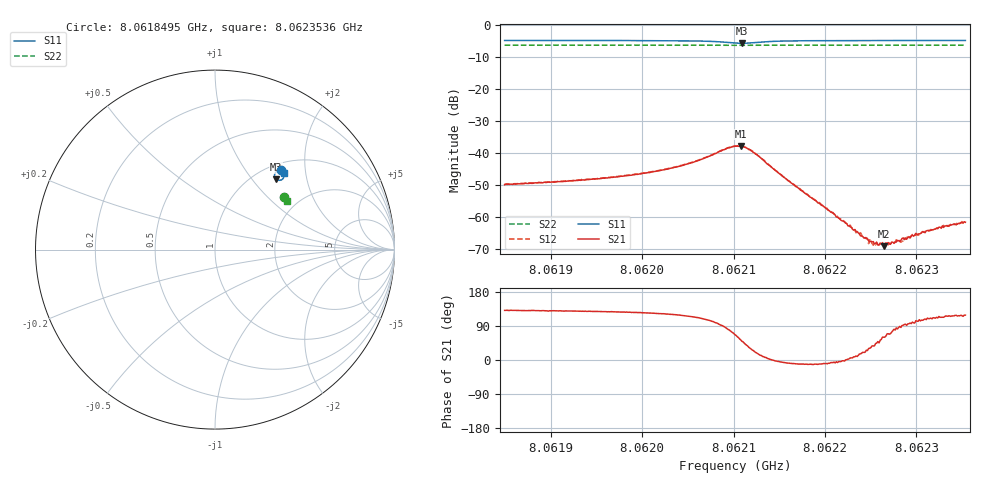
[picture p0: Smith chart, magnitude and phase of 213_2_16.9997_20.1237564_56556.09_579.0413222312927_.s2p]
#  HZ  S  RI  R  50.00
! Rohde & Schwarz Vector Network Analyzer
! Rohde-Schwarz,ZNB20-2Port,1311601062101988,3.16
! Created: UTC 3/20/2024, 11:01:39 PM
! freq[Hz]  re:S11  im:S11  re:S21  im:S21  re:S12  im:S12  re:S22  im:S22
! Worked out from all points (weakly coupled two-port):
!   401 points, 8.0618495 GHz to 8.0623536 GHz, reference 50 ohm
!   highest |S21| = -37.79 dB at 8.0621079 GHz (marker M1); lowest = -69.1 dB at 8.0622641 GHz (marker M2)
!   lowest |S11| = -5.7 dB at 8.0621091 GHz (marker M3), VSWR 3.16, Z = 61.9 + j66.6 ohm
!   |S11| at or under -10 dB: nowhere
!   |S22| runs from -6.3 to -6.3 dB; largest |S21 - S12| = 0.00092
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8.06184954e9  0.3669 0.4438  -0.00211 0.00242  -0.00199 0.00261  0.387 0.2948
8.06193397e9  0.3734 0.4379  -0.00236 0.00297  -0.00222 0.00318  0.3901 0.2906
8.06198564e9  0.3779 0.4327  -0.00264 0.00363  -0.00245 0.00382  0.3919 0.288
8.06201841e9  0.3813 0.4276  -0.00285 0.00449  -0.00262 0.00467  0.393 0.2863
8.06205369e9  0.3848 0.4175  -0.00294 0.00641  -0.00258 0.00666  0.3942 0.2841
8.0620915e9  0.3726 0.3899  0.000956 0.0116  0.00173 0.0116  0.3942 0.2813
8.06210158e9  0.3551 0.3859  0.00508 0.0118  0.0058 0.0116  0.3937 0.281
8.06210788e9  0.3424 0.3909  0.00778 0.0103  0.00835 0.00985  0.3935 0.281
8.06210914e9  0.3402 0.3926  0.00823 0.00962  0.00875 0.00932  0.3935 0.281
8.06212174e9  0.3317 0.4162  0.00929 0.0043  0.00965 0.00374  0.3939 0.2818
8.06215703e9  0.355 0.4393  0.00397 -0.000528  0.00392 -0.000741  0.3964 0.2807
8.06218601e9  0.3658 0.4387  0.00193 -0.000398  0.00192 -0.000502  0.3977 0.2793
8.0622402e9  0.3755 0.4348  0.000482 0.00016  0.00051 0.000128  0.3997 0.2763
8.06225028e9  0.3767 0.4341  0.000353 0.000229  0.000363 0.000208  0.4002 0.2759
8.06225658e9  0.3774 0.4337  0.00029 0.000286  0.000308 0.000241  0.4003 0.2755
8.06226415e9  0.3783 0.4332  0.000174 0.000306  0.000201 0.00033  0.4006 0.2752
8.06227045e9  0.3789 0.4327  0.000141 0.000354  0.000155 0.00036  0.4008 0.2748
8.06228557e9  0.3803 0.4317  -1.44e-05 0.000474  4.13e-06 0.000426  0.4013 0.2741
8.06229313e9  0.381 0.4313  -6.12e-05 0.000471  -3.46e-05 0.000474  0.4016 0.2737
8.06230699e9  0.3823 0.4303  -0.000151 0.000573  -0.000125 0.000583  0.4021 0.273
8.0623259e9  0.3839 0.4292  -0.000269 0.000642  -0.000242 0.000603  0.4025 0.272
8.06235362e9  0.386 0.4275  -0.000396 0.000732  -0.000319 0.000771  0.4035 0.2706
